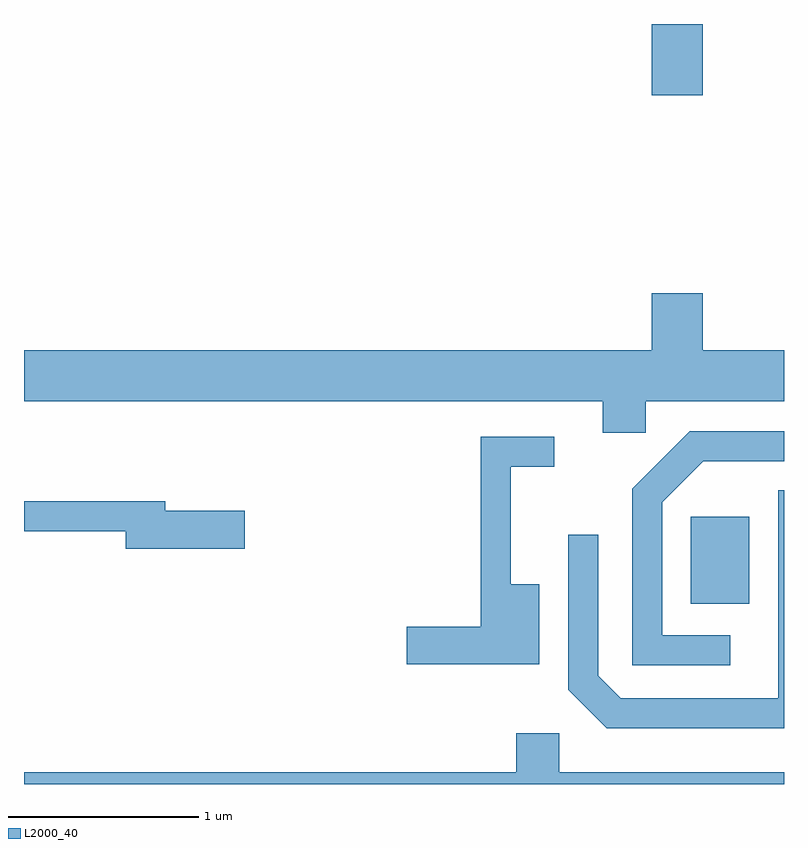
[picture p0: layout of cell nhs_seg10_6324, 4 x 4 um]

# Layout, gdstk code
import gdstk
lib = gdstk.Library(unit=1e-6, precision=1e-09)
def R(c, l, rs):  # rectangles x0, y0, x1, y1
    for r in rs: c.add(gdstk.rectangle(r[:2], r[2:], *l))
def P(c, l, *ps):  # polygons
    for p in ps: c.add(gdstk.Polygon(p, *l))
L2000_40 = (2000, 40)

nhs_seg10_6324 = lib.new_cell('nhs_seg10_6324')
R(nhs_seg10_6324, L2000_40, [(375.121,2159.471,375.429,2159.929), (374.916,2162.146,375.184,2162.522)])
P(nhs_seg10_6324, L2000_40, [(374.884,2160.536),(375.611,2160.536),(375.611,2160.804),(375.184,2160.804),(375.184,2161.104),(374.916,2161.104),(374.916,2160.804),(371.611,2160.804),(371.611,2160.536),(374.656,2160.536),(374.656,2160.371),(374.884,2160.371)],
  [(375.328,2159.304),(374.969,2159.304),(374.969,2160.004),(375.187,2160.221),(375.611,2160.221),(375.611,2160.379),(375.114,2160.379),(374.811,2160.077),(374.811,2159.146),(375.328,2159.146)],
  [(374.324,2159.574),(374.174,2159.574),(374.174,2160.191),(374.403,2160.191),(374.403,2160.349),(374.016,2160.349),(374.016,2159.349),(373.626,2159.349),(373.626,2159.151),(374.324,2159.151)],
  [(375.611,2160.069),(375.581,2160.069),(375.581,2158.974),(374.752,2158.974),(374.634,2159.092),(374.634,2159.833),(374.476,2159.833),(374.476,2159.019),(374.679,2158.816),(375.611,2158.816)],
  [(372.774,2159.959),(372.354,2159.959),(372.354,2160.009),(371.611,2160.009),(371.611,2159.851),(372.146,2159.851),(372.146,2159.761),(372.774,2159.761)],
  [(375.611,2158.584),(374.429,2158.584),(374.429,2158.789),(374.201,2158.789),(374.201,2158.584),(371.611,2158.584),(371.611,2158.522),(375.611,2158.522)])

lib.write_gds('nhs_seg10_6324.gds')
